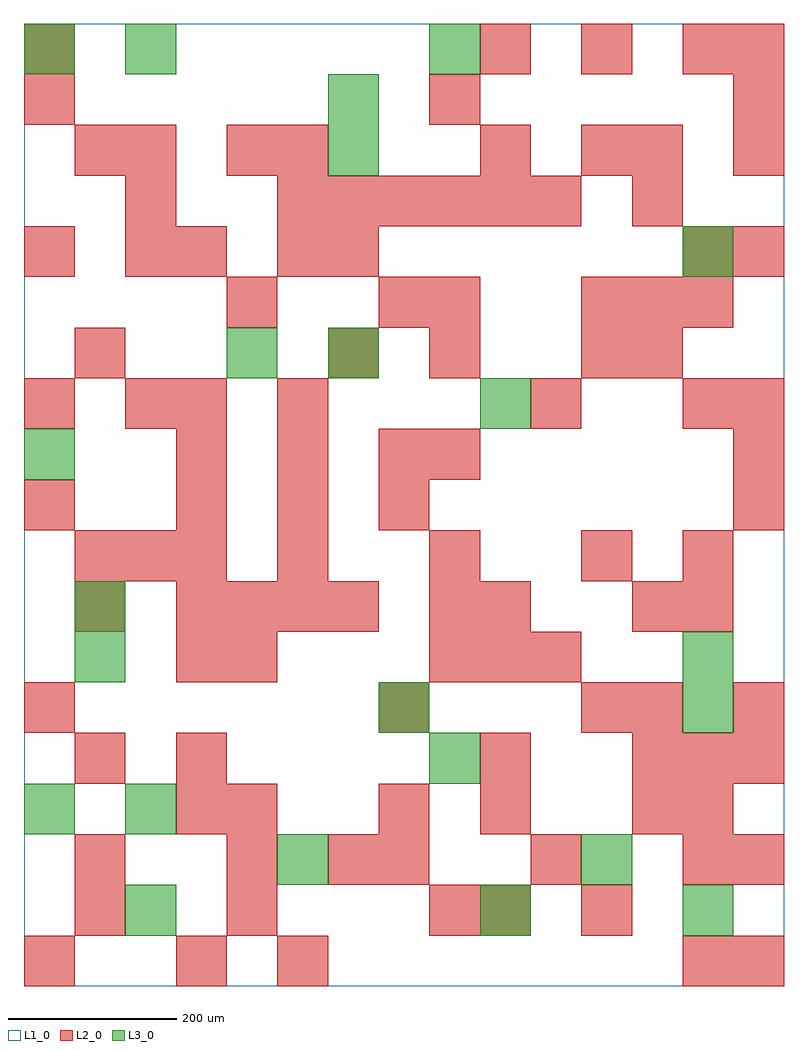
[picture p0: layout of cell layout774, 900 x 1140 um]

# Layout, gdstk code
import gdstk
lib = gdstk.Library(unit=1e-6, precision=1e-09)
def R(c, l, rs):  # rectangles x0, y0, x1, y1
    for r in rs: c.add(gdstk.rectangle(r[:2], r[2:], *l))
def A(c, l, x, y, w, h, nx, ny, dx, dy):  # array of equal rectangles
    R(c, l, [(x+i*dx, y+j*dy, x+i*dx+w, y+j*dy+h) for i in range(nx) for j in range(ny)])
L1_0 = (1, 0)
L2_0 = (2, 0)
L3_0 = (3, 0)

layout774 = lib.new_cell('layout774')
R(layout774, L1_0, [(0,0,900,1140)])
A(layout774, L2_0, 240, 60, 60, 60, 1, 3, 0, 60)
A(layout774, L2_0, 420, 120, 60, 60, 3, 1, 180, 0)
A(layout774, L2_0, 720, 180, 60, 60, 1, 3, 0, 120)
A(layout774, L2_0, 720, 240, 60, 60, 3, 1, 60, 0)
A(layout774, L2_0, 480, 360, 60, 60, 3, 1, 60, 0)
A(layout774, L2_0, 180, 420, 60, 60, 4, 1, 60, 0)
A(layout774, L2_0, 60, 480, 60, 60, 3, 1, 60, 0)
A(layout774, L2_0, 300, 480, 60, 60, 3, 1, 180, 0)
A(layout774, L2_0, 780, 480, 60, 60, 1, 3, 0, 180)
A(layout774, L2_0, 180, 540, 60, 60, 3, 2, 120, 60)
A(layout774, L2_0, 840, 540, 60, 60, 1, 3, 0, 60)
A(layout774, L2_0, 0, 660, 60, 60, 1, 3, 0, 180)
A(layout774, L2_0, 660, 780, 60, 60, 3, 1, 60, 0)
A(layout774, L2_0, 120, 840, 60, 60, 1, 3, 0, 60)
A(layout774, L2_0, 300, 900, 60, 60, 6, 1, 60, 0)
A(layout774, L2_0, 840, 960, 60, 60, 1, 3, 0, 60)
A(layout774, L2_0, 540, 1080, 60, 60, 3, 1, 120, 0)
R(layout774, L2_0, [(0,0,60,60), (180,0,240,60), (300,0,360,60), (780,0,840,60), (840,0,900,60), (60,60,120,120), (480,60,540,120), (540,60,600,120), (660,60,720,120), (60,120,120,180), (360,120,420,180), (840,120,900,180), (180,180,240,240), (420,180,480,240), (540,180,600,240), (780,180,840,240), (60,240,120,300), (180,240,240,300), (540,240,600,300), (0,300,60,360), (420,300,480,360), (660,300,720,360), (840,300,900,360), (180,360,240,420), (240,360,300,420), (60,420,120,480), (480,420,540,480), (540,420,600,480), (780,420,840,480), (0,540,60,600), (480,600,540,660), (120,660,180,720), (180,660,240,720), (300,660,360,720), (600,660,660,720), (60,720,120,780), (360,720,420,780), (480,720,540,780), (660,720,720,780), (720,720,780,780), (240,780,300,840), (420,780,480,840), (480,780,540,840), (180,840,240,900), (300,840,360,900), (360,840,420,900), (840,840,900,900), (720,900,780,960), (60,960,120,1020), (240,960,300,1020), (300,960,360,1020), (540,960,600,1020), (660,960,720,1020), (720,960,780,1020), (480,1020,540,1080), (0,1080,60,1140)])
R(layout774, L3_0, [(120,60,180,120), (540,60,600,120), (780,60,840,120), (300,120,360,180), (660,120,720,180), (0,180,60,240), (120,180,180,240), (480,240,540,300), (420,300,480,360), (780,300,840,360), (60,360,120,420), (780,360,840,420), (60,420,120,480), (0,600,60,660), (540,660,600,720), (240,720,300,780), (360,720,420,780), (780,840,840,900), (360,960,420,1020), (360,1020,420,1080), (0,1080,60,1140), (120,1080,180,1140), (480,1080,540,1140)])

lib.write_gds('layout774.gds')
